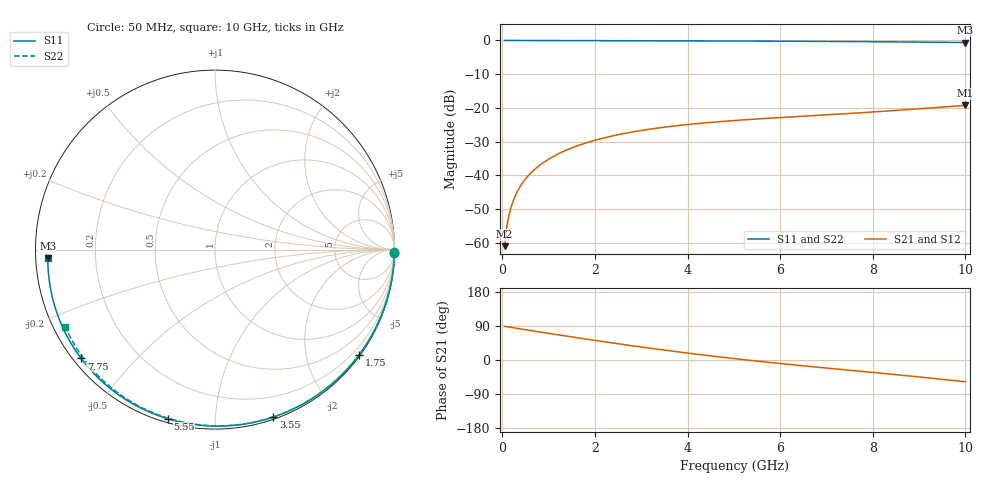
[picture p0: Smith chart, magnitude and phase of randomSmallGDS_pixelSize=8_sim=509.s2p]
! freq	dB(S11)	phase(S11)	dB(S12)	phase(S12)
!  dB(S21)	phase(S21)	dB(S22)	phase(S22)
!S-par simulation data
#  GHz  S  DB  R 50
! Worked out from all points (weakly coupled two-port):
!   200 points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, 50 MHz to 10 GHz, reference 50 ohm
!   highest |S21| = -19.24 dB at 10 GHz (marker M1); lowest = -61.0 dB at 50 MHz (marker M2)
!   lowest |S11| = -0.6 dB at 10 GHz (marker M3), VSWR 28.68, Z = 1.74 - j1.23 ohm
!   |S11| at or under -10 dB: nowhere
!   |S22| runs from -0.6 to 0.0 dB; largest |S21 - S12| = 0
!   S11 on the Smith chart (normalised r, x): 50 MHz: open; 1.75 GHz: 0.03, -3.06; 3.55 GHz: 0.02, -1.41; 5.55 GHz: 0.02, -0.76; 7.75 GHz: 0.02, -0.35; 10 GHz: 0.03, -0.02
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0.05  -0.00 -1.1  -60.98 89.0  -60.98 89.0  -0.00 -0.9
0.1  -0.00 -2.1  -54.96 87.9  -54.96 87.9  -0.00 -1.8
0.15  -0.00 -3.2  -51.45 86.9  -51.45 86.9  -0.00 -2.7
0.2  -0.00 -4.2  -48.96 85.9  -48.96 85.9  -0.00 -3.6
0.25  -0.00 -5.3  -47.03 84.9  -47.03 84.9  -0.00 -4.5
0.35  -0.01 -7.4  -44.13 82.8  -44.13 82.8  -0.00 -6.3
0.5  -0.01 -10.5  -41.07 79.9  -41.07 79.9  -0.01 -9.0
0.7  -0.02 -14.7  -38.20 76.0  -38.20 76.0  -0.01 -12.6
1  -0.03 -20.9  -35.19 70.3  -35.19 70.3  -0.02 -17.9
1.35  -0.04 -28.0  -32.71 63.7  -32.71 63.7  -0.03 -24.1
1.75  -0.05 -36.1  -30.63 56.3  -30.63 56.3  -0.04 -31.1
2.6  -0.07 -52.9  -27.67 41.2  -27.67 41.2  -0.07 -45.6
3.4  -0.10 -68.0  -25.88 27.7  -25.88 27.7  -0.09 -58.8
3.55  -0.10 -70.8  -25.62 25.3  -25.62 25.3  -0.09 -61.3
4.3  -0.13 -84.3  -24.52 13.8  -24.52 13.8  -0.12 -73.1
5.05  -0.16 -97.3  -23.69 3.1  -23.69 3.1  -0.15 -84.5
5.55  -0.19 -105.6  -23.23 -3.6  -23.23 -3.6  -0.17 -91.9
6.7  -0.26 -124.3  -22.29 -17.7  -22.29 -17.7  -0.23 -108.2
7.75  -0.34 -140.9  -21.43 -29.9  -21.43 -29.9  -0.31 -122.6
8.35  -0.40 -150.4  -20.89 -36.9  -20.89 -36.9  -0.36 -130.6
9.2  -0.50 -164.0  -20.06 -47.2  -20.06 -47.2  -0.45 -141.9
10  -0.61 -177.2  -19.24 -57.5  -19.24 -57.5  -0.55 -152.6
